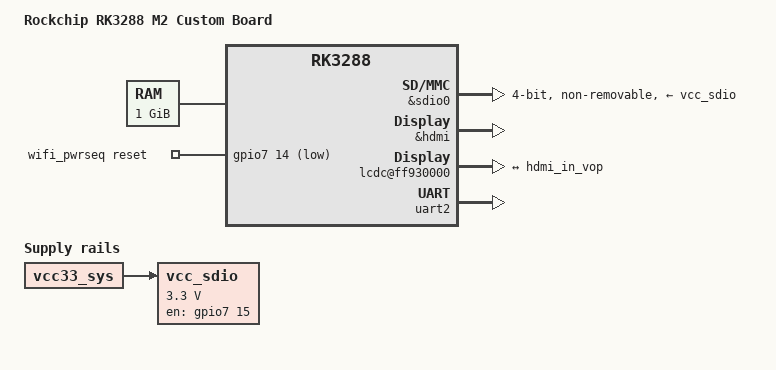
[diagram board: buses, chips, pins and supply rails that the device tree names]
/dts-v1/;

/ {
    model = "Rockchip RK3288 M2 Custom Board";
    compatible = "rockchip,rk3288-m2", "rockchip,rk3288";

    chosen {
        bootargs = "console=ttyFIQ0,1500000n8 androidboot.hardware=rk30board androidboot.console=ttyFIQ0 init=/init initrd=0x62000000,0x00800000 loglevel=8 earlyprintk";
        stdout-path = "serial2:1500000n8";
    };

    memory@60000000 {
        device_type = "memory";
        reg = <0x60000000 0x40000000>;  /* 1GB RAM */
    };

    aliases {
        serial0 = &uart0;
        serial1 = &uart1;
        serial2 = &uart2;
        mmc0 = &sdmmc;
        mmc1 = &emmc;
        mmc2 = &sdio0;
    };

    /* WiFi: Broadcom AP6330 (SDIO) */
    wifi_pwrseq: wifi-pwrseq {
        compatible = "mmc-pwrseq-simple";
        reset-gpios = <&gpio7 14 GPIO_ACTIVE_LOW>;  /* WIFI_EN */
        clocks = <&clk_wifi>;
        clock-names = "ext_clock";
        status = "okay";
    };

    /* SDIO0 - WiFi */
    &sdio0 {
        status = "okay";
        bus-width = <4>;
        cap-sd-highspeed;
        cap-mmc-highspeed;
        disable-wp;
        pinctrl-names = "default";
        pinctrl-0 = <&sdio0_clk &sdio0_cmd &sdio0_bus4>;
        vmmc-supply = <&vcc_sdio>;
        non-removable;
        keep-power-in-suspend;
        enable-sdio-wakeup;
        pwrseq = <&wifi_pwrseq>;
    };

    /* HDMI */
    &hdmi {
        status = "okay";
        pinctrl-names = "default";
        pinctrl-0 = <&hdmi_ctl>;
    };

    /* VOP (Display) - LCDC0 */
    lcdc@ff930000 {
        compatible = "rockchip,rk3288-lcdc";
        reg = <0xff930000 0x4000>;
        interrupts = <0 86 4>;
        clocks = <&cru ACLK_VOP0>, <&cru HCLK_VOP0>, <&cru DCLK_VOP0>;
        clock-names = "aclk_vop", "hclk_vop", "dclk_vop";
        power-domains = <&power RK3288_PD_VIO>;
        rockchip,grf = <&grf>;
        status = "okay";

        ports {
            #address-cells = <1>;
            #size-cells = <0>;

            port@0 {
                reg = <0>;
                lcdc0_out_hdmi: endpoint {
                    remote-endpoint = <&hdmi_in_vop>;
                };
            };
        };

        display-timings {
            native-mode = <&timing0>;

            timing0: 1920x1080 {
                clock-frequency = <148500000>;
                hactive = <1920>;
                hfront-porch = <88>;
                hsync-len = <44>;
                hback-porch = <148>;
                vactive = <1080>;
                vfront-porch = <4>;
                vsync-len = <5>;
                vback-porch = <36>;
                hsync-active = <0>;
                vsync-active = <0>;
                de-active = <0>;
                pixelclk-active = <0>;
            };
        };
    };

    /* LVDS (Optional - Enable if panel used) */
    lvds@ff96c000 {
        compatible = "rockchip,rk3288-lvds";
        reg = <0xff96c000 0x4000>;
        rockchip,grf = <&grf>;
        status = "disabled";  /* Change to "okay" if LVDS panel */
        pinctrl-names = "default";
        pinctrl-0 = <&lvds_ctl>;
    };

    /* GPIO */
    gpio7: gpio@ff790000 {
        compatible = "rockchip,gpio-bank";
        reg = <0xff790000 0x100>;
        interrupts = <0 79 4>;
        clocks = <&cru PCLK_GPIO7>;
        gpio-controller;
        #gpio-cells = <2>;
        interrupt-controller;
        #interrupt-cells = <2>;
    };

    /* Clock for WiFi */
    clk_wifi: clock-wifi {
        compatible = "fixed-clock";
        clock-frequency = <26000000>;
        #clock-cells = <0>;
    };

    /* UART2 (Debug) */
    uart2: serial@ff690000 {
        compatible = "rockchip,rk3288-uart", "snps,dw-apb-uart";
        reg = <0xff690000 0x100>;
        interrupts = <0 59 4>;
        clocks = <&cru SCLK_UART2>, <&cru PCLK_UART2>;
        clock-names = "baudclk", "apb_pclk";
        pinctrl-names = "default";
        pinctrl-0 = <&uart2_xfer &uart2_cts &uart2_rts>;
        status = "okay";
    };

    /* Power Supplies */
    vcc_sdio: vcc-sdio {
        compatible = "regulator-fixed";
        regulator-name = "vcc_sdio";
        regulator-min-microvolt = <3300000>;
        regulator-max-microvolt = <3300000>;
        gpio = <&gpio7 15 GPIO_ACTIVE_HIGH>;
        enable-active-high;
        startup-delay-us = <2000>;
        vin-supply = <&vcc33_sys>;
    };

    /* GRF (General Register File) */
    grf: syscon@ff770000 {
        compatible = "rockchip,rk3288-grf", "syscon";
        reg = <0xff770000 0x1000>;
    };

    /* Pin Control */
    pinctrl: pinctrl@ff720000 {
        compatible = "rockchip,rk3288-pinctrl";
        rockchip,grf = <&grf>;

        sdio0 {
            sdio0_clk: sdio0-clk {
                rockchip,pins = <2 12 RK_FUNC_1 &pcfg_pull_none>;
            };
            sdio0_cmd: sdio0-cmd {
                rockchip,pins = <2 13 RK_FUNC_1 &pcfg_pull_up>;
            };
            sdio0_bus4: sdio0-bus4 {
                rockchip,pins =
                    <2 14 RK_FUNC_1 &pcfg_pull_up>,
                    <2 15 RK_FUNC_1 &pcfg_pull_up>,
                    <2 16 RK_FUNC_1 &pcfg_pull_up>,
                    <2 17 RK_FUNC_1 &pcfg_pull_up>;
            };
        };

        hdmi {
            hdmi_ctl: hdmi-ctl {
                rockchip,pins = <7 25 RK_FUNC_1 &pcfg_pull_none>;
            };
        };

        uart2 {
            uart2_xfer: uart2-xfer {
                rockchip,pins =
                    <1 15 RK_FUNC_1 &pcfg_pull_up>,
                    <1 16 RK_FUNC_1 &pcfg_pull_none>;
            };
            uart2_cts: uart2-cts {
                rockchip,pins = <1 17 RK_FUNC_1 &pcfg_pull_none>;
            };
            uart2_rts: uart2-rts {
                rockchip,pins = <1 18 RK_FUNC_1 &pcfg_pull_none>;
            };
        };

        lvds {
            lvds_ctl: lvds-ctl {
                rockchip,pins = <7 26 RK_FUNC_1 &pcfg_pull_none>;
            };
        };
    };
};
